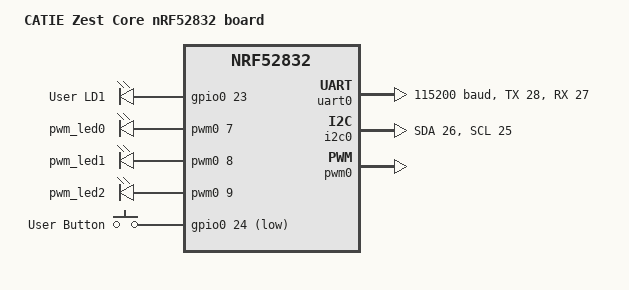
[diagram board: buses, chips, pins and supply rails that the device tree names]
/*
 * Copyright (c) 2020
 *
 * SPDX-License-Identifier: Apache-2.0
 */

/dts-v1/;
#include <nordic/nrf52832_qfaa.dtsi>

/ {
	model = "CATIE Zest Core nRF52832 board";
	compatible = "catie,zest-core-nrf52832";

	chosen {
		zephyr,console = &uart0;
		zephyr,shell-uart = &uart0;
		zephyr,uart-mcumgr = &uart0;
		zephyr,sram = &sram0;
		zephyr,flash = &flash0;
		zephyr,code-partition = &slot0_partition;
	};

	leds {
		compatible = "gpio-leds";
		led_1: led_1 {
			gpios = <&gpio0 23 GPIO_ACTIVE_HIGH>;
			label = "User LD1";
		};
	};

	pwmleds {
		compatible = "pwm-leds";
		pwm_led0: pwm_led_0 {
			pwms = <&pwm0 7>;
		};
		pwm_led1: pwm_led_1 {
			pwms = <&pwm0 8>;
		};
		pwm_led2: pwm_led_2 {
			pwms = <&pwm0 9>;
		};
	};

	gpio_keys {
		compatible = "gpio-keys";
		user_button: button {
			label = "User Button";
			gpios = <&gpio0 24 GPIO_ACTIVE_LOW>;
		};
	};

	aliases {
		led0 = &led_1;
		sw0 = &user_button;
	};
};

&gpiote {
	status = "okay";
};

&gpio0 {
	status = "okay";
};

&flash0 {

	partitions {
		compatible = "fixed-partitions";
		#address-cells = <1>;
		#size-cells = <1>;

		boot_partition: partition@0 {
			label = "mcuboot";
			reg = <0x00000000 0xc000>;
		};
		slot0_partition: partition@c000 {
			label = "image-0";
			reg = <0x0000C000 0x32000>;
		};
		slot1_partition: partition@3e000 {
			label = "image-1";
			reg = <0x0003E000 0x32000>;
		};
		scratch_partition: partition@70000 {
			label = "image-scratch";
			reg = <0x00070000 0xa000>;
		};
		storage_partition: partition@7a000 {
			label = "storage";
			reg = <0x0007a000 0x00006000>;
		};
	};
};

&uart0 {
	status = "okay";
	compatible = "nordic,nrf-uart";
	current-speed = <115200>;
	tx-pin = <28>;
	rx-pin = <27>;
};

&i2c0 {
	compatible = "nordic,nrf-twi";
	status = "okay";
	sda-pin = <26>;
	scl-pin = <25>;
};


&pwm0 {
	status = "okay";
	ch0-pin = <7>;
	ch1-pin = <8>;
	ch2-pin = <9>;
	ch2-pin = <10>;
};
